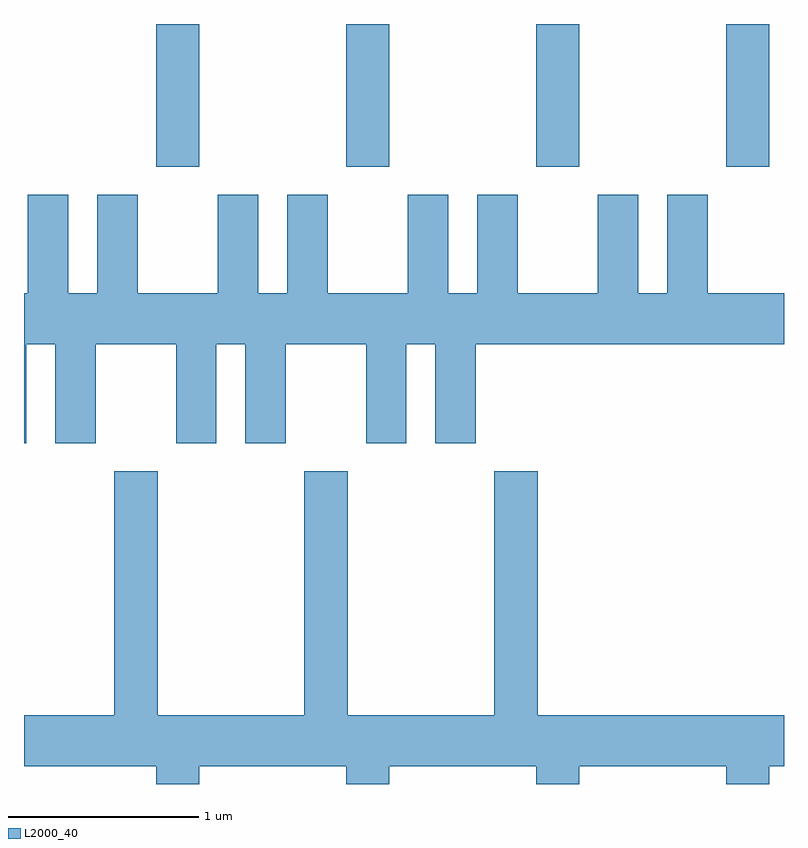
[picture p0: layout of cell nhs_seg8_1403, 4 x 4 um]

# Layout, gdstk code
import gdstk
lib = gdstk.Library(unit=1e-6, precision=1e-09)
def R(c, l, rs):  # rectangles x0, y0, x1, y1
    for r in rs: c.add(gdstk.rectangle(r[:2], r[2:], *l))
def A(c, l, x, y, w, h, nx, ny, dx, dy):  # array of equal rectangles
    R(c, l, [(x+i*dx, y+j*dy, x+i*dx+w, y+j*dy+h) for i in range(nx) for j in range(ny)])
def P(c, l, *ps):  # polygons
    for p in ps: c.add(gdstk.Polygon(p, *l))
L2000_40 = (2000, 40)

nhs_seg8_1403 = lib.new_cell('nhs_seg8_1403')
A(nhs_seg8_1403, L2000_40, 228.306, 1819.591, 0.228, 0.751, 4, 1, 1, 0)
P(nhs_seg8_1403, L2000_40, [(227.624,1818.656),(227.776,1818.656),(227.776,1818.136),(227.989,1818.136),(227.989,1818.656),(228.411,1818.656),(228.411,1818.136),(228.624,1818.136),(228.624,1818.656),(228.776,1818.656),(228.776,1818.136),(228.989,1818.136),(228.989,1818.656),(229.411,1818.656),(229.411,1818.136),(229.624,1818.136),(229.624,1818.656),(229.776,1818.656),(229.776,1818.136),(229.989,1818.136),(229.989,1818.656),(231.611,1818.656),(231.611,1818.924),(231.209,1818.924),(231.209,1819.444),(230.996,1819.444),(230.996,1818.924),(230.844,1818.924),(230.844,1819.444),(230.631,1819.444),(230.631,1818.924),(230.209,1818.924),(230.209,1819.444),(229.996,1819.444),(229.996,1818.924),(229.844,1818.924),(229.844,1819.444),(229.631,1819.444),(229.631,1818.924),(229.209,1818.924),(229.209,1819.444),(228.996,1819.444),(228.996,1818.924),(228.844,1818.924),(228.844,1819.444),(228.631,1819.444),(228.631,1818.924),(228.209,1818.924),(228.209,1819.444),(227.996,1819.444),(227.996,1818.924),(227.844,1818.924),(227.844,1819.444),(227.631,1819.444),(227.631,1818.924),(227.611,1818.924),(227.611,1818.136),(227.624,1818.136)],
  [(228.534,1816.436),(229.306,1816.436),(229.306,1816.342),(229.534,1816.342),(229.534,1816.436),(230.306,1816.436),(230.306,1816.342),(230.534,1816.342),(230.534,1816.436),(231.306,1816.436),(231.306,1816.342),(231.534,1816.342),(231.534,1816.436),(231.611,1816.436),(231.611,1816.704),(230.314,1816.704),(230.314,1817.989),(230.086,1817.989),(230.086,1816.704),(229.314,1816.704),(229.314,1817.989),(229.086,1817.989),(229.086,1816.704),(228.314,1816.704),(228.314,1817.989),(228.086,1817.989),(228.086,1816.704),(227.611,1816.704),(227.611,1816.436),(228.306,1816.436),(228.306,1816.342),(228.534,1816.342)])

lib.write_gds('nhs_seg8_1403.gds')
